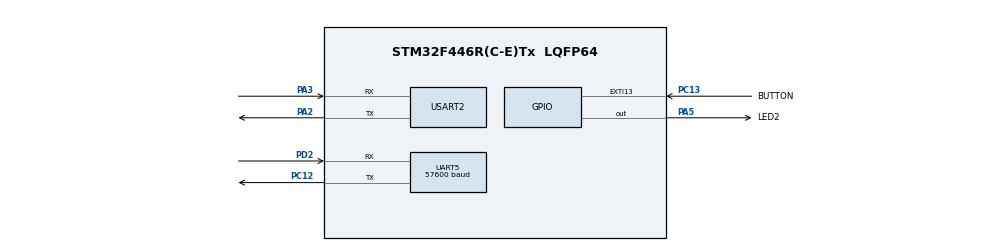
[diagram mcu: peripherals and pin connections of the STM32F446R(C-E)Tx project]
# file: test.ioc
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Dma.Request0=UART5_RX
Dma.UART5_RX.0.Direction=DMA_PERIPH_TO_MEMORY
Dma.UART5_RX.0.FIFOMode=DMA_FIFOMODE_DISABLE
Dma.UART5_RX.0.Instance=DMA1_Stream0
Dma.UART5_RX.0.MemDataAlignment=DMA_MDATAALIGN_BYTE
Dma.UART5_RX.0.MemInc=DMA_MINC_ENABLE
Dma.UART5_RX.0.Mode=DMA_CIRCULAR
Dma.UART5_RX.0.PeriphDataAlignment=DMA_PDATAALIGN_BYTE
Dma.UART5_RX.0.PeriphInc=DMA_PINC_DISABLE
Dma.UART5_RX.0.Priority=DMA_PRIORITY_LOW
Mcu.Family=STM32F4
Mcu.Name=STM32F446R(C-E)Tx
Mcu.Package=LQFP64
NVIC.DMA1_Stream0_IRQn=true\:0\:0\:false\:false\:true\:false\:true
NVIC.EXTI15_10_IRQn=true\:0\:0\:false\:false\:true\:true\:true
NVIC.PriorityGroup=NVIC_PRIORITYGROUP_4
NVIC.UART5_IRQn=true\:0\:0\:false\:false\:true\:true\:true
PA2.Mode=Asynchronous
PA2.Signal=USART2_TX
PA3.Mode=Asynchronous
PA3.Signal=USART2_RX
PA5.GPIO_Label=LED2
PA5.GPIO_PuPd=GPIO_PULLUP
PA5.GPIO_Speed=GPIO_SPEED_FREQ_HIGH
PA5.Signal=GPIO_Output
PC12.Mode=Asynchronous
PC12.Signal=UART5_TX
PC13.GPIO_Label=BUTTON
PC13.GPIO_ModeDefaultEXTI=GPIO_MODE_IT_FALLING
PC13.GPIO_PuPd=GPIO_NOPULL
PC13.Signal=GPXTI13
PD2.Mode=Asynchronous
PD2.Signal=UART5_RX
ProjectManager.HeapSize=0x200
ProjectManager.StackSize=0x400
ProjectManager.TargetToolchain=STM32CubeIDE
RCC.CortexFreq_Value=16000000
RCC.USBFreq_Value=96000000
RCC.VCOOutputFreq_Value=192000000
UART5.BaudRate=57600
UART5.OverSampling=UART_OVERSAMPLING_16
UART5.VirtualMode=Asynchronous
USART2.VirtualMode=VM_ASYNC
board=custom

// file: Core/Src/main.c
/* USER CODE BEGIN Header */
/**
  ******************************************************************************
  * @file           : main.c
  * @brief          : Main program body
  ******************************************************************************
  * @attention
  *
  * <h2><center>&copy; Copyright (c) 2019 STMicroelectronics.
  * All rights reserved.</center></h2>
  *
  * This software component is licensed by ST under BSD 3-Clause license,
  * the "License"; You may not use this file except in compliance with the
  * License. You may obtain a copy of the License at:
  *                        opensource.org/licenses/BSD-3-Clause
  *
  ******************************************************************************
  */
/* USER CODE END Header */

#include "main.h"
#include "dma.h"
#include "usart.h"
#include "gpio.h"

/* USER CODE BEGIN Includes */
#include <stdio.h>
#include "HerkulexServo.h"
#include "servoControl.h"
/* USER CODE END Includes */

/* USER CODE BEGIN PV */
unsigned char buttonPressed;
unsigned char receivedUART;
unsigned char passed;
uint8_t rData[9] = {0};
uint32_t nLoop;

/* USER CODE END PV */

void SystemClock_Config(void);
/* USER CODE BEGIN PFP */
void HAL_GPIO_EXTI_Callback(uint16_t GPIO_Pin);
void HAL_UART_RxCpltCallback(UART_HandleTypeDef *huart);
void resetToFactoryDefault(uint8_t id);
void askStat(uint8_t id);
void reboot(uint8_t id);
void changeID(uint8_t oldID, uint8_t newID);
/* USER CODE END PFP */

/* USER CODE BEGIN 0 */
#ifdef __GNUC__
/* With GCC/RAISONANCE, small printf (option LD Linker->Libraries->Small printf
 set to 'Yes') calls __io_putchar() */
#define PUTCHAR_PROTOTYPE int __io_putchar(int ch)
#else
#define PUTCHAR_PROTOTYPE int fputc(int ch, FILE *f)
#endif /* __GNUC__ */
/* USER CODE END 0 */

int main(void)
{

	/* MCU Configuration--------------------------------------------------------*/

	/* Reset of all peripherals, Initializes the Flash interface and the Systick. */
	HAL_Init();

	/* USER CODE BEGIN Init */
	buttonPressed = 0;
	receivedUART = 0;
	passed = 0;

	HerkulexServoBus *herkulexBus = initializeServoBus(&huart5);
	HerkulexServo *servo_chevilleDroite = initializeServo(herkulexBus, 0xDA);
	HerkulexServo *servo_genouDroit = initializeServo(herkulexBus, 0xDC);
	HerkulexServo *servo_hancheDroite = initializeServo(herkulexBus, 0xDB);
	HerkulexServo *servo_bassinDroit = initializeServo(herkulexBus, 0xCB);
	HerkulexServo *servo_bassinGauche = initializeServo(herkulexBus, 0xBB);
	HerkulexServo *servo_hancheGauche = initializeServo(herkulexBus, 0xDD);
	HerkulexServo *servo_genouGauche = initializeServo(herkulexBus, 0xCA);
	HerkulexServo *servo_chevilleGauche = initializeServo(herkulexBus, 0xCC);

	HerkulexServo *articulations[8] = {servo_chevilleDroite, servo_genouDroit, servo_hancheDroite, servo_bassinDroit, servo_bassinGauche, servo_hancheGauche, servo_genouGauche, servo_chevilleGauche};
	/* USER CODE END Init */

	/* Configure the system clock */
	SystemClock_Config();

	/* Initialize all configured peripherals */
	MX_GPIO_Init();
	MX_UART5_Init();
	MX_USART2_UART_Init();
	MX_DMA_Init();
	/* USER CODE BEGIN 2 */
	for (uint8_t i = 0; i < 8; i++)
	{
		setTorqueOn(articulations[i]);
	}

	initialisePosition(articulations);
	HAL_GPIO_WritePin(LED2_GPIO_Port, LED2_Pin, GPIO_PIN_SET);
	/* USER CODE END 2 */

	/* Infinite loop */
	/* USER CODE BEGIN WHILE */
	while (1)
	{
		if (buttonPressed)
		{
			HAL_GPIO_WritePin(LED2_GPIO_Port, LED2_Pin, GPIO_PIN_RESET);
			walk(articulations, 10);
			buttonPressed = 0;
		}
	}
	/* USER CODE END 3 */
}

void SystemClock_Config(void)
{
	RCC_OscInitTypeDef RCC_OscInitStruct = {0};
	RCC_ClkInitTypeDef RCC_ClkInitStruct = {0};

	/** Configure the main internal regulator output voltage
  */
	__HAL_RCC_PWR_CLK_ENABLE();
	__HAL_PWR_VOLTAGESCALING_CONFIG(PWR_REGULATOR_VOLTAGE_SCALE3);
	/** Initializes the CPU, AHB and APB busses clocks
  */
	RCC_OscInitStruct.OscillatorType = RCC_OSCILLATORTYPE_HSI;
	RCC_OscInitStruct.HSIState = RCC_HSI_ON;
	RCC_OscInitStruct.HSICalibrationValue = RCC_HSICALIBRATION_DEFAULT;
	RCC_OscInitStruct.PLL.PLLState = RCC_PLL_NONE;
	if (HAL_RCC_OscConfig(&RCC_OscInitStruct) != HAL_OK)
	{
		Error_Handler();
	}
	/** Initializes the CPU, AHB and APB busses clocks
  */
	RCC_ClkInitStruct.ClockType = RCC_CLOCKTYPE_HCLK | RCC_CLOCKTYPE_SYSCLK | RCC_CLOCKTYPE_PCLK1 | RCC_CLOCKTYPE_PCLK2;
	RCC_ClkInitStruct.SYSCLKSource = RCC_SYSCLKSOURCE_HSI;
	RCC_ClkInitStruct.AHBCLKDivider = RCC_SYSCLK_DIV1;
	RCC_ClkInitStruct.APB1CLKDivider = RCC_HCLK_DIV1;
	RCC_ClkInitStruct.APB2CLKDivider = RCC_HCLK_DIV1;

	if (HAL_RCC_ClockConfig(&RCC_ClkInitStruct, FLASH_LATENCY_0) != HAL_OK)
	{
		Error_Handler();
	}
}

/* USER CODE BEGIN 4 */

/**
 * @brief Retargets the C library printf function to the USART.
 * @param None
 * @retval None
 */
PUTCHAR_PROTOTYPE
{
	/* Place your implementation of fputc here */
	/* e.g. write a character to the USART2 and Loop until the end of transmission */
	HAL_UART_Transmit(&huart2, (uint8_t *)&ch, 1, 0xFFFF);

	return ch;
}

void HAL_GPIO_EXTI_Callback(uint16_t GPIO_Pin)
{
	buttonPressed = 1;
}

void HAL_UART_RxCpltCallback(UART_HandleTypeDef *huart)
{
	/* Prevent unused argument(s) compilation warning */
	UNUSED(huart);
	/* NOTE: This function should not be modified, when the callback is needed,
	 * the HAL_UART_RxCpltCallback could be implemented in the user file
	 * */
	receivedUART = 1;
}

void resetToFactoryDefault(uint8_t id)
{
	uint8_t data_len = 0x09;
	uint8_t cmd = 0x08;
	uint8_t checksum1;
	uint8_t checksum2;
	uint8_t data1 = 0x00;
	uint8_t data2 = 0x00;

	uint8_t tData[0x09];

	checksum1 = data_len ^ id ^ cmd ^ data1 ^ data2;
	checksum1 = checksum1 & 0xFE;

	checksum2 = (~checksum1) & 0xFE;

	tData[0] = 0xFF;
	tData[1] = 0xFF;
	tData[2] = data_len;
	tData[3] = id;
	tData[4] = cmd;
	tData[5] = checksum1;
	tData[6] = checksum2;
	tData[7] = data1;
	tData[8] = data2;

	printf("\n\rData sent: ");
	for (uint8_t i = 0; i < sizeof(tData); i++)
	{
		printf("%.2X ", tData[i]);
	}
	printf("\n\r");

	HAL_UART_Transmit(&huart5, tData, sizeof(tData), 1000);
}

void askStat(uint8_t id)
{
	const uint8_t data_len = 0x07;
	uint8_t cmd = 0x07;
	uint8_t checksum1;
	uint8_t checksum2;

	uint8_t tData[data_len];

	checksum1 = data_len ^ id ^ cmd;
	checksum1 = checksum1 & 0xFE;

	checksum2 = (~checksum1) & 0xFE;

	tData[0] = 0xFF;
	tData[1] = 0xFF;
	tData[2] = data_len;
	tData[3] = id;
	tData[4] = cmd;
	tData[5] = checksum1;
	tData[6] = checksum2;

	printf("\n\rData sent: ");
	for (uint8_t i = 0; i < sizeof(tData); i++)
	{
		printf("%.2X ", tData[i]);
	}
	printf("\n\r");

	HAL_UART_Transmit(&huart5, tData, sizeof(tData), 1000);
}

void reboot(uint8_t id)
{
	const uint8_t data_len = 0x07;
	uint8_t cmd = 0x09;
	uint8_t checksum1;
	uint8_t checksum2;

	uint8_t tData[data_len];

	checksum1 = data_len ^ id ^ cmd;
	checksum1 = checksum1 & 0xFE;

	checksum2 = (~checksum1) & 0xFE;

	tData[0] = 0xFF;
	tData[1] = 0xFF;
	tData[2] = data_len;
	tData[3] = id;
	tData[4] = cmd;
	tData[5] = checksum1;
	tData[6] = checksum2;

	printf("\n\rData sent: ");
	for (uint8_t i = 0; i < sizeof(tData); i++)
	{
		printf("%.2X ", tData[i]);
	}
	printf("\n\r");

	HAL_UART_Transmit(&huart5, tData, sizeof(tData), 1000);
}

void changeID(uint8_t oldID, uint8_t newID)
{
	const uint8_t data_len = 0x0A;
	uint8_t cmd = 0x01;
	uint8_t checksum1;
	uint8_t checksum2;
	uint8_t data1 = 0x06;
	uint8_t data2 = 0x01;
	uint8_t data3 = newID;

	uint8_t tData[data_len];

	checksum1 = data_len ^ oldID ^ cmd ^ data1 ^ data2 ^ data3;
	checksum1 = checksum1 & 0xFE;

	checksum2 = (~checksum1) & 0xFE;

	tData[0] = 0xFF;
	tData[1] = 0xFF;
	tData[2] = data_len;
	tData[3] = oldID;
	tData[4] = cmd;
	tData[5] = checksum1;
	tData[6] = checksum2;
	tData[7] = data1;
	tData[8] = data2;
	tData[9] = data3;

	printf("\n\rData sent: ");
	for (uint8_t i = 0; i < sizeof(tData); i++)
	{
		printf("%.2X ", tData[i]);
	}
	printf("\n\r");

	HAL_UART_Transmit(&huart5, tData, sizeof(tData), 1000);

	cmd = 0x03;
	data1 = 0x00;
	checksum1 = data_len ^ oldID ^ cmd ^ data1 ^ data2 ^ data3;
	checksum1 = checksum1 & 0xFE;

	checksum2 = (~checksum1) & 0xFE;

	printf("\n\rData sent: ");
	for (uint8_t i = 0; i < sizeof(tData); i++)
	{
		printf("%.2X ", tData[i]);
	}
	printf("\n\r");

	HAL_UART_Transmit(&huart5, tData, sizeof(tData), 1000);

	askStat(newID);
}
/* USER CODE END 4 */

void Error_Handler(void)
{
}

/************************ (C) COPYRIGHT STMicroelectronics *****END OF FILE****/
